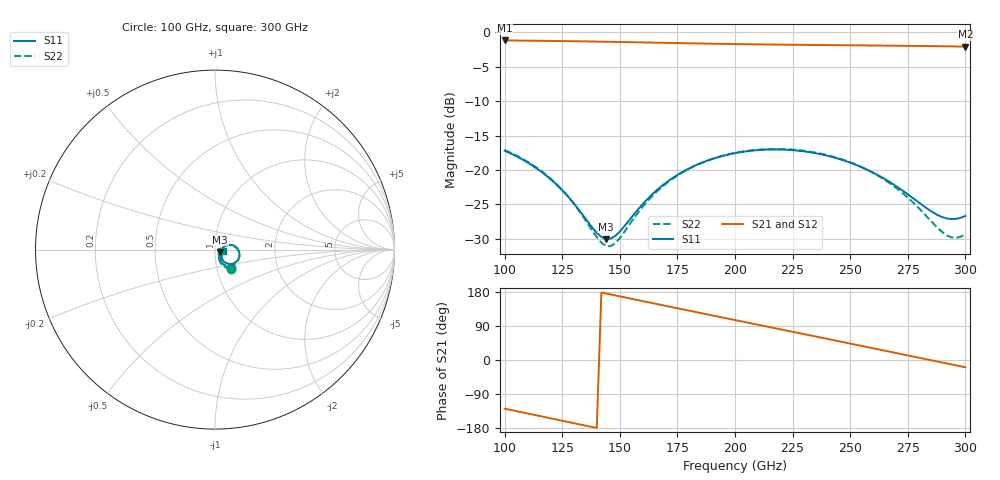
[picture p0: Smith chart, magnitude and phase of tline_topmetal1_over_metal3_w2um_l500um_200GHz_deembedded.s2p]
! Created with skrf 2.2.0 (http://scikit-rf.org).
# GHz S DB R 50.0
! Port[1] = P1
! Port[2] = P2
!freq dBS11 angS11 dBS21 angS21 dBS12 angS12 dBS22 angS22
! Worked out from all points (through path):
!   101 points, 100 GHz to 300 GHz, reference 50 ohm
!   highest |S21| = -1.18 dB at 100 GHz (marker M1); lowest = -2.1 dB at 300 GHz (marker M2)
!   group delay of S21, straight-line fit = 3.47 ps
!   lowest |S11| = -30.0 dB at 144 GHz (marker M3), VSWR 1.06, Z = 52.9 - j1.36 ohm
!   |S11| at or under -10 dB: start of sweep to end of sweep
!   |S22| runs from -31.1 to -16.9 dB; largest |S21 - S12| = 1.5e-12
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100  -17.21 -48.3  -1.18 -128.5  -1.18 -128.5  -17.11 -50.8
110  -18.93 -56.3  -1.21 -141.2  -1.21 -141.2  -18.82 -59.4
118  -20.81 -61.0  -1.24 -151.4  -1.24 -151.4  -20.72 -65.0
126  -23.31 -62.7  -1.27 -161.6  -1.27 -161.6  -23.27 -67.7
134  -26.58 -56.8  -1.31 -171.7  -1.31 -171.7  -26.76 -63.5
140  -29.15 -41.4  -1.34 -179.4  -1.34 -179.4  -29.78 -48.6
144  -30.05 -24.0  -1.36 175.6  -1.36 175.6  -31.06 -29.4
148  -29.61 -5.7  -1.39 170.5  -1.39 170.5  -30.67 -7.8
160  -24.95 19.0  -1.46 155.3  -1.46 155.3  -25.32 19.2
168  -22.39 19.7  -1.51 145.3  -1.51 145.3  -22.57 19.3
182  -19.48 12.2  -1.60 127.8  -1.60 127.8  -19.51 10.6
192  -18.22 4.3  -1.66 115.3  -1.66 115.3  -18.20 2.1
200  -17.57 -2.5  -1.70 105.4  -1.70 105.4  -17.52 -5.3
216  -17.03 -16.9  -1.77 85.6  -1.77 85.6  -16.95 -20.7
224  -17.11 -24.0  -1.80 75.7  -1.80 75.7  -17.02 -28.5
234  -17.52 -32.6  -1.83 63.3  -1.83 63.3  -17.43 -38.0
252  -19.20 -46.3  -1.88 40.8  -1.88 40.8  -19.17 -53.9
268  -21.94 -53.1  -1.93 20.8  -1.93 20.8  -22.13 -63.9
280  -24.79 -49.1  -1.98 5.8  -1.98 5.8  -25.64 -63.3
292  -27.07 -29.2  -2.03 -9.2  -2.03 -9.2  -29.53 -40.6
296  -27.11 -19.8  -2.05 -14.2  -2.05 -14.2  -29.89 -26.4
300  -26.70 -11.2  -2.07 -19.2  -2.07 -19.2  -29.34 -12.7
